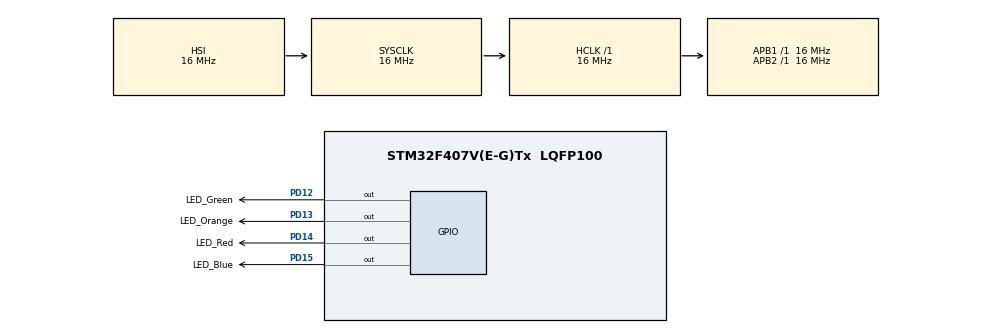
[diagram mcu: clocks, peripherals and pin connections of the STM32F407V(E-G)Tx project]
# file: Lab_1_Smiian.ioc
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Mcu.Family=STM32F4
Mcu.Name=STM32F407V(E-G)Tx
Mcu.Package=LQFP100
NVIC.PriorityGroup=NVIC_PRIORITYGROUP_4
NVIC.TIM8_TRG_COM_TIM14_IRQn=true\:0\:0\:false\:false\:true\:true\:true\:true
PA13.Mode=Serial_Wire
PA13.Signal=SYS_JTMS-SWDIO
PA14.Mode=Serial_Wire
PA14.Signal=SYS_JTCK-SWCLK
PD12.GPIO_Label=LED_Green
PD12.Signal=GPIO_Output
PD13.GPIO_Label=LED_Orange
PD13.Signal=GPIO_Output
PD14.GPIO_Label=LED_Red
PD14.Signal=GPIO_Output
PD15.GPIO_Label=LED_Blue
PD15.Signal=GPIO_Output
PH0-OSC_IN.Mode=HSE-External-Oscillator
PH0-OSC_IN.Signal=RCC_OSC_IN
PH1-OSC_OUT.Mode=HSE-External-Oscillator
PH1-OSC_OUT.Signal=RCC_OSC_OUT
ProjectManager.HeapSize=0x200
ProjectManager.StackSize=0x400
ProjectManager.TargetToolchain=MDK-ARM V5.32
RCC.AHBFreq_Value=16000000
RCC.APB1Freq_Value=16000000
RCC.APB2Freq_Value=16000000
RCC.CortexFreq_Value=16000000
RCC.HSE_VALUE=25000000
RCC.HSI_VALUE=16000000
RCC.LSE_VALUE=32768
RCC.SYSCLKFreq_VALUE=16000000
RCC.VCOOutputFreq_Value=192000000
TIM14.AutoReloadPreload=TIM_AUTORELOAD_PRELOAD_DISABLE
TIM14.Prescaler=16000
VP_TIM14_VS_ClockSourceINT.Mode=Enable_Timer
board=custom

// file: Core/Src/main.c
/* USER CODE BEGIN Header */
/**
  ******************************************************************************
  * @file           : main.c
  * @brief          : Main program body
  ******************************************************************************
  * @attention
  *
  * Copyright (c) 2024 STMicroelectronics.
  * All rights reserved.
  *
  * This software is licensed under terms that can be found in the LICENSE file
  * in the root directory of this software component.
  * If no LICENSE file comes with this software, it is provided AS-IS.
  *
  ******************************************************************************
  */
/* USER CODE END Header */
#include "main.h"
#include "tim.h"
#include "gpio.h"

/* USER CODE BEGIN PD */
#define Clockwise 1
#define Counterclockwise 0
#define Number_Of_LEDs 4-1
#define Step 1
#define Delay_Limit_ms 100
/* USER CODE END PD */

/* USER CODE BEGIN PV */
uint8_t Direction_Handler = 0;
uint8_t Timer_Interrupt_Flag = 0;
/* USER CODE END PV */

void SystemClock_Config(void);
/* USER CODE BEGIN PFP */
void Circular_Flick (uint8_t Direction, uint32_t Delay_ms);
void Red_Tog(); 	//Start on top - going counterclockwise
void Blue_Tog();
void Green_Tog();
void Orange_Tog();
/* USER CODE END PFP */

/* USER CODE BEGIN 0 */
void Red_Tog(){ HAL_GPIO_TogglePin(LED_Red_GPIO_Port, LED_Red_Pin);}
void Blue_Tog(){ HAL_GPIO_TogglePin(LED_Blue_GPIO_Port, LED_Blue_Pin);}
void Green_Tog(){ HAL_GPIO_TogglePin(LED_Green_GPIO_Port, LED_Green_Pin);}
void Orange_Tog(){ HAL_GPIO_TogglePin(LED_Orange_GPIO_Port, LED_Orange_Pin);}
void (*LED_Tog[])(void) = {Red_Tog, Blue_Tog, Green_Tog, Orange_Tog};

void HAL_TIM_PeriodElapsedCallback(TIM_HandleTypeDef *htim){
	if (htim->Instance == TIM14){
		static uint8_t Pointer = 0;
		LED_Tog[Pointer]();
		if (Direction_Handler == 0){
      Pointer = (Pointer >= Number_Of_LEDs) ? 0 : Pointer + Step;
    } else {
      Pointer = (Pointer == 0) ? Number_Of_LEDs : Pointer - Step;
		}
		LED_Tog[Pointer]();
	}
}

void Circular_Flick (uint8_t Direction, uint32_t Delay_ms){
	HAL_TIM_Base_Stop_IT(&htim14);
	Direction_Handler = Direction;
	if (Delay_ms < Delay_Limit_ms){ Delay_ms = Delay_Limit_ms;}
	TIM14->ARR = Delay_ms;
	HAL_TIM_Base_Start_IT(&htim14);
}
/* USER CODE END 0 */

int main(void)
{

  /* MCU Configuration--------------------------------------------------------*/

  /* Reset of all peripherals, Initializes the Flash interface and the Systick. */
  HAL_Init();

  /* Configure the system clock */
  SystemClock_Config();

  /* Initialize all configured peripherals */
  MX_GPIO_Init();
  MX_TIM14_Init();
  /* USER CODE BEGIN 2 */
	HAL_GPIO_WritePin(LED_Red_GPIO_Port, LED_Red_Pin, GPIO_PIN_SET);
	HAL_GPIO_WritePin(LED_Blue_GPIO_Port, LED_Blue_Pin, GPIO_PIN_RESET);
	HAL_GPIO_WritePin(LED_Green_GPIO_Port, LED_Green_Pin, GPIO_PIN_RESET);
	HAL_GPIO_WritePin(LED_Orange_GPIO_Port, LED_Orange_Pin, GPIO_PIN_RESET);
  /* USER CODE END 2 */

  /* Infinite loop */
  /* USER CODE BEGIN WHILE */

  while (1)
  {
	Circular_Flick (Clockwise, 500);
	HAL_Delay(4010); //if delay is round - MC stucks for a minute
	Circular_Flick (Counterclockwise, 250);
	HAL_Delay(2010);

	//////////////Comment///////////////////////////
		/*
		This is only core for such task. In real project several functions needed, such as:
		Circular_Flick_Init();
		Circular_Flick_Start();
		Circular_Flick_Stop();
		Core will remain same - functions will setup LEDs, Pointer and Duration
		If needed - duration of pause between flicks also can be specified
		*/
	//////////////Comment///////////////////////////

    /* USER CODE END WHILE */

  }
}

void SystemClock_Config(void)
{
  RCC_OscInitTypeDef RCC_OscInitStruct = {0};
  RCC_ClkInitTypeDef RCC_ClkInitStruct = {0};

  /** Configure the main internal regulator output voltage
  */
  __HAL_RCC_PWR_CLK_ENABLE();
  __HAL_PWR_VOLTAGESCALING_CONFIG(PWR_REGULATOR_VOLTAGE_SCALE1);

  /** Initializes the RCC Oscillators according to the specified parameters
  * in the RCC_OscInitTypeDef structure.
  */
  RCC_OscInitStruct.OscillatorType = RCC_OSCILLATORTYPE_HSI;
  RCC_OscInitStruct.HSIState = RCC_HSI_ON;
  RCC_OscInitStruct.HSICalibrationValue = RCC_HSICALIBRATION_DEFAULT;
  RCC_OscInitStruct.PLL.PLLState = RCC_PLL_NONE;
  if (HAL_RCC_OscConfig(&RCC_OscInitStruct) != HAL_OK)
  {
    Error_Handler();
  }

  /** Initializes the CPU, AHB and APB buses clocks
  */
  RCC_ClkInitStruct.ClockType = RCC_CLOCKTYPE_HCLK|RCC_CLOCKTYPE_SYSCLK
                              |RCC_CLOCKTYPE_PCLK1|RCC_CLOCKTYPE_PCLK2;
  RCC_ClkInitStruct.SYSCLKSource = RCC_SYSCLKSOURCE_HSI;
  RCC_ClkInitStruct.AHBCLKDivider = RCC_SYSCLK_DIV1;
  RCC_ClkInitStruct.APB1CLKDivider = RCC_HCLK_DIV1;
  RCC_ClkInitStruct.APB2CLKDivider = RCC_HCLK_DIV1;

  if (HAL_RCC_ClockConfig(&RCC_ClkInitStruct, FLASH_LATENCY_0) != HAL_OK)
  {
    Error_Handler();
  }
}

void Error_Handler(void)
{
  __disable_irq();
  while (1)
  {
  }
}
